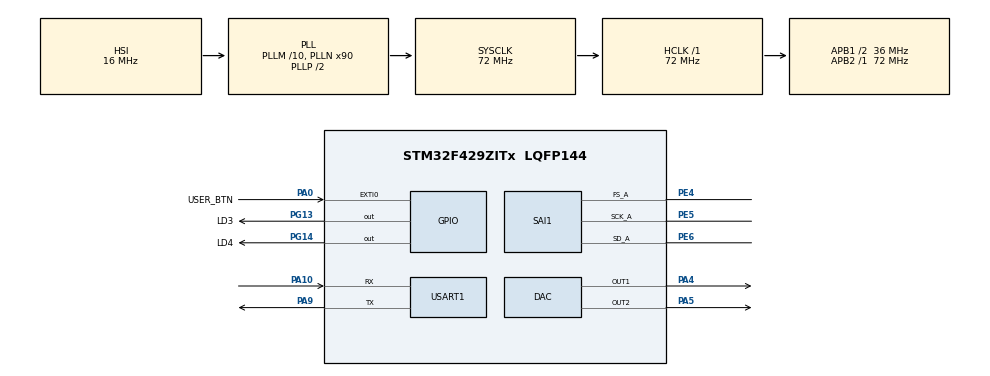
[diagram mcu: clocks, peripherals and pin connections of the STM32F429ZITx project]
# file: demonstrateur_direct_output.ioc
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DAC.DAC_Trigger=DAC_TRIGGER_T2_TRGO
DAC.DAC_Trigger2=DAC_TRIGGER_T2_TRGO
DAC.WaveGeneration=DISABLE
Dma.DAC1.1.Direction=DMA_MEMORY_TO_PERIPH
Dma.DAC1.1.FIFOMode=DMA_FIFOMODE_DISABLE
Dma.DAC1.1.Instance=DMA1_Stream5
Dma.DAC1.1.MemDataAlignment=DMA_MDATAALIGN_HALFWORD
Dma.DAC1.1.MemInc=DMA_MINC_ENABLE
Dma.DAC1.1.Mode=DMA_CIRCULAR
Dma.DAC1.1.PeriphDataAlignment=DMA_PDATAALIGN_HALFWORD
Dma.DAC1.1.PeriphInc=DMA_PINC_DISABLE
Dma.DAC1.1.Priority=DMA_PRIORITY_LOW
Dma.DAC2.2.Direction=DMA_MEMORY_TO_PERIPH
Dma.DAC2.2.FIFOMode=DMA_FIFOMODE_DISABLE
Dma.DAC2.2.Instance=DMA1_Stream6
Dma.DAC2.2.MemDataAlignment=DMA_MDATAALIGN_HALFWORD
Dma.DAC2.2.MemInc=DMA_MINC_ENABLE
Dma.DAC2.2.Mode=DMA_CIRCULAR
Dma.DAC2.2.PeriphDataAlignment=DMA_PDATAALIGN_HALFWORD
Dma.DAC2.2.PeriphInc=DMA_PINC_DISABLE
Dma.DAC2.2.Priority=DMA_PRIORITY_LOW
Dma.Request0=SAI1_A
Dma.Request1=DAC1
Dma.Request2=DAC2
Dma.SAI1_A.0.Direction=DMA_PERIPH_TO_MEMORY
Dma.SAI1_A.0.FIFOMode=DMA_FIFOMODE_DISABLE
Dma.SAI1_A.0.Instance=DMA2_Stream1
Dma.SAI1_A.0.MemDataAlignment=DMA_MDATAALIGN_HALFWORD
Dma.SAI1_A.0.MemInc=DMA_MINC_ENABLE
Dma.SAI1_A.0.Mode=DMA_CIRCULAR
Dma.SAI1_A.0.PeriphDataAlignment=DMA_PDATAALIGN_HALFWORD
Dma.SAI1_A.0.PeriphInc=DMA_PINC_DISABLE
Dma.SAI1_A.0.Priority=DMA_PRIORITY_LOW
Mcu.Family=STM32F4
Mcu.Name=STM32F429ZITx
Mcu.Package=LQFP144
NVIC.DMA1_Stream5_IRQn=true\:0\:0\:false\:false\:true\:false\:true
NVIC.DMA1_Stream6_IRQn=true\:0\:0\:false\:false\:true\:false\:true
NVIC.DMA2_Stream1_IRQn=true\:0\:0\:false\:false\:true\:false\:true
NVIC.PriorityGroup=NVIC_PRIORITYGROUP_4
NVIC.TIM6_DAC_IRQn=true\:15\:0\:false\:false\:true\:false\:true
NVIC.TimeBase=TIM6_DAC_IRQn
NVIC.TimeBaseIP=TIM6
PA0/WKUP.GPIO_Label=USER_BTN
PA0/WKUP.GPIO_ModeDefaultEXTI=GPIO_MODE_EVT_RISING
PA0/WKUP.Signal=GPXTI0
PA10.Mode=Asynchronous
PA10.Signal=USART1_RX
PA13.Mode=Serial_Wire
PA13.Signal=SYS_JTMS-SWDIO
PA14.Mode=Serial_Wire
PA14.Signal=SYS_JTCK-SWCLK
PA4.Signal=COMP_DAC1_group
PA5.Signal=COMP_DAC2_group
PA9.Mode=Asynchronous
PA9.Signal=USART1_TX
PE4.Mode=SAI_A_Master
PE4.Signal=SAI1_FS_A
PE5.Mode=SAI_A_Master
PE5.Signal=SAI1_SCK_A
PE6.Mode=SAI_A_Master
PE6.Signal=SAI1_SD_A
PG13.GPIO_Label=LD3
PG13.Signal=GPIO_Output
PG14.GPIO_Label=LD4
PG14.Signal=GPIO_Output
PH0/OSC_IN.Mode=HSE-External-Oscillator
PH0/OSC_IN.Signal=RCC_OSC_IN
PH1/OSC_OUT.Mode=HSE-External-Oscillator
PH1/OSC_OUT.Signal=RCC_OSC_OUT
ProjectManager.HeapSize=0x200
ProjectManager.StackSize=0x400
ProjectManager.TargetToolchain=STM32CubeIDE
RCC.48MHZClocksFreq_Value=36000000
RCC.AHBFreq_Value=72000000
RCC.APB1CLKDivider=RCC_HCLK_DIV2
RCC.APB1Freq_Value=36000000
RCC.APB1TimFreq_Value=72000000
RCC.APB2Freq_Value=72000000
RCC.APB2TimFreq_Value=72000000
RCC.CortexFreq_Value=72000000
RCC.HCLKFreq_Value=72000000
RCC.HSE_VALUE=25000000
RCC.HSI_VALUE=16000000
RCC.LSE_VALUE=32768
RCC.PLLM=10
RCC.PLLN=90
RCC.PLLSAIN=256
RCC.PLLSAIQ=5
RCC.SYSCLKFreq_VALUE=72000000
RCC.SYSCLKSource=RCC_SYSCLKSOURCE_PLLCLK
RCC.VCOOutputFreq_Value=144000000
SAI1.ActiveFrameLength-SAI_A_Master=32
SAI1.AudioFrequency-SAI_A_Master=SAI_AUDIO_FREQUENCY_32K
SAI1.AudioMode-SAI_A_Master=SAI_MODEMASTER_RX
SAI1.ClockStrobing-SAI_A_Master=SAI_CLOCKSTROBING_RISINGEDGE
SAI1.DataSize-SAI_A_Master=SAI_DATASIZE_16
SAI1.ErrorAudioFreq-SAI_A_Master=0.0 %
SAI1.FSDefinition-SAI_A_Master=SAI_FS_CHANNEL_IDENTIFICATION
SAI1.FrameLength-SAI_A_Master=64
SAI1.Instance-SAI_A_Master=SAI$Index_Block_A
SAI1.MClockEnable-SAI_A_Master=SAI_MASTERCLOCK_DISABLE
SAI1.RealAudioFreq-SAI_A_Master=32.0 KHz
SAI1.SlotActive-SAI_A_Master=0x0000FFFF
SAI1.SlotNumber-SAI_A_Master=4
SAI1.Synchro_A=SAI_ASYNCHRONOUS
SAI1.VirtualMode-SAI_A_Master=VM_MASTER
SAI1.VirtualSlotActive-SAI_A_Master=SAI_SLOTACTIVE_ALL
SH.COMP_DAC1_group.0=DAC_OUT1,DAC_OUT1
SH.COMP_DAC2_group.0=DAC_OUT2,DAC_OUT2
TIM2.Period=2249
TIM2.TIM_MasterOutputTrigger=TIM_TRGO_UPDATE
USART1.VirtualMode=VM_ASYNC
VP_SYS_VS_tim6.Mode=TIM6
VP_TIM2_VS_ClockSourceINT.Mode=Internal
board=custom

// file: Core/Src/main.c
/* USER CODE BEGIN Header */
/**
  ******************************************************************************
  * @file           : main.c
  * @brief          : Main program body
  ******************************************************************************
  * @attention
  *
  * <h2><center>&copy; Copyright (c) 2021 STMicroelectronics.
  * All rights reserved.</center></h2>
  *
  * This software component is licensed by ST under BSD 3-Clause license,
  * the "License"; You may not use this file except in compliance with the
  * License. You may obtain a copy of the License at:
  *                        opensource.org/licenses/BSD-3-Clause
  *
  ******************************************************************************
  */
/* USER CODE END Header */
#include "main.h"

/* USER CODE BEGIN Includes */
#include "pdm_fir.h"
#include <stdlib.h>
#include <string.h>
/* USER CODE END Includes */

/* USER CODE BEGIN PTD */
typedef enum program_state {
    IDLE, RECORDING
} program_state;
/* USER CODE END PTD */

/* USER CODE BEGIN PD */
#pragma clang diagnostic push
#pragma ide diagnostic ignored "EndlessLoop"

#define SOUND_FS 32000
#define DECIMATION_FACTOR 64
#define WORD_SIZE 16

#define PDM_BUFFER_SIZE 128
#define PCM_BUFFER_SIZE PDM_BUFFER_SIZE / (DECIMATION_FACTOR / WORD_SIZE) // HERE PCM_BUFFER_SIZE = 128 / (64 / 16) = 32

#define TRANSMIT
/* USER CODE END PD */

DAC_HandleTypeDef hdac;
DMA_HandleTypeDef hdma_dac1;
DMA_HandleTypeDef hdma_dac2;

SAI_HandleTypeDef hsai_BlockA1;
DMA_HandleTypeDef hdma_sai1_a;

TIM_HandleTypeDef htim2;

UART_HandleTypeDef huart1;

/* USER CODE BEGIN PV */
//declaring Buffers and Buffer Indexes
uint16_t PDM_buffer[PDM_BUFFER_SIZE * 2]; // Double buffer for HALF READ
uint16_t PCM_buffer[PCM_BUFFER_SIZE];;

uint16_t DAC_buffer_left[PCM_BUFFER_SIZE * 2]; // Double buffer for HALF WRITE
uint16_t DAC_buffer_right[PCM_BUFFER_SIZE * 2]; // Double buffer for HALF WRITE

uint8_t sai_flag = 1, sai_half = 0;
uint8_t dac_flag = 1, dac_half = 0;
/* USER CODE END PV */

void SystemClock_Config(void);

static void MX_GPIO_Init(void);

static void MX_DMA_Init(void);

static void MX_DAC_Init(void);

static void MX_SAI1_Init(void);

static void MX_TIM2_Init(void);

static void MX_USART1_UART_Init(void);

/* USER CODE BEGIN 0 */

// Configuring SAI Interruption Callbacks
void HAL_SAI_RxHalfCpltCallback(SAI_HandleTypeDef *hsai) {
    sai_flag = 0;
    sai_half = 0;
}

void HAL_SAI_RxCpltCallback(SAI_HandleTypeDef *hsai) {
    sai_flag = 0;
    sai_half = 1;
}

// Configuring DAC Interruption Callbacks
void HAL_DAC_ConvHalfCpltCallbackCh1(DAC_HandleTypeDef *hdac1) {
    dac_flag = 0;
    dac_half = 0;
}

void HAL_DAC_ConvCpltCallbackCh1(DAC_HandleTypeDef *hdac1) {
    dac_flag = 0;
    dac_half = 1;
}

// function to Filter a chunk of PDM_DATA
size_t filter_pdm_chunk(struct pdm_fir_filter *filter, uint16_t *pcm_buffer, uint16_t *pdm_buffer, size_t pdm_size,
                        uint16_t decimation, uint16_t linear_gain) {
    uint16_t decimation_words = decimation / WORD_SIZE;
    size_t pcm_to_write = pdm_size / decimation_words;
    for (size_t i = 0; i < pcm_to_write; i++) {
        for (size_t j = 0; j < decimation_words; j++) {
            pdm_fir_flt_put(filter, pdm_buffer[i * decimation_words + j]);
        }
        int32_t received_pcm = pdm_fir_flt_get(filter, 12);
        received_pcm -= 50; // centering PCM Signal
        received_pcm *= linear_gain;
        if (received_pcm > 0x7FF) received_pcm = 0x7FF;
        if (received_pcm < -0x7FF) received_pcm = -0x7FF;
        received_pcm += 0x7FF;
        pcm_buffer[i] = (uint16_t) received_pcm & 0xFFF;
    }
    return pcm_to_write;
}

/* USER CODE END 0 */

int main(void) {
    /* USER CODE BEGIN 1 */
    // Declaring Initial STATE
    program_state current_state = IDLE;
    //declaring pdm_filter
    struct pdm_fir_filter pdm_filter;

    //initializing Buffers
    for (size_t i = 0; i < PDM_BUFFER_SIZE * 2; i++) PDM_buffer[i] = 0;
    for (size_t i = 0; i < PCM_BUFFER_SIZE; i++) PCM_buffer[i] = 0;
    for (size_t i = 0; i < PCM_BUFFER_SIZE * 2; i++) {
        DAC_buffer_left[i] = 0x7ff;
        DAC_buffer_right[i] = 0x7FF;
    }
    /* USER CODE END 1 */

    /* MCU Configuration--------------------------------------------------------*/

    /* Reset of all peripherals, Initializes the Flash interface and the Systick. */
    HAL_Init();

    /* Configure the system clock */
    SystemClock_Config();

    /* Initialize all configured peripherals */
    MX_GPIO_Init();
    MX_DMA_Init();
    MX_DAC_Init();
    MX_SAI1_Init();
    MX_TIM2_Init();
    MX_USART1_UART_Init();
    /* USER CODE BEGIN 2 */

    pdm_fir_flt_init(&pdm_filter);
    HAL_SAI_Receive_DMA(&hsai_BlockA1, (uint8_t *) PDM_buffer, PDM_BUFFER_SIZE * 2);
    HAL_DAC_Start_DMA(&hdac, DAC_CHANNEL_1, (uint32_t *) DAC_buffer_left, PCM_BUFFER_SIZE * 2, DAC_ALIGN_12B_R);
    HAL_DAC_Start_DMA(&hdac, DAC_CHANNEL_2, (uint32_t *) DAC_buffer_right, PCM_BUFFER_SIZE * 2, DAC_ALIGN_12B_R);
    HAL_TIM_Base_Start(&htim2);
    /* USER CODE END 2 */

    /* Infinite loop */
    /* USER CODE BEGIN WHILE */
    uint32_t idle_counter = 0;
    uint32_t cool_down = 0;
    while (1) {
        /* USER CODE END WHILE */

        /* USER CODE BEGIN 3 */
        switch (current_state) {
            case RECORDING:
                if (!sai_flag) {
                    (void) filter_pdm_chunk(&pdm_filter, PCM_buffer, PDM_buffer + PDM_BUFFER_SIZE * sai_half,
                                            PDM_BUFFER_SIZE, DECIMATION_FACTOR, 9);
                    sai_flag = 1;
                    if (cool_down > 0) cool_down--;

                }
                if (!dac_flag) {
                    memcpy(DAC_buffer_left + dac_half * PCM_BUFFER_SIZE, PCM_buffer,
                           PCM_BUFFER_SIZE * sizeof(uint16_t));
                    memcpy(DAC_buffer_right + dac_half * PCM_BUFFER_SIZE, PCM_buffer,
                           PCM_BUFFER_SIZE * sizeof(uint16_t));
                    dac_flag = 1;
                }
                if (HAL_GPIO_ReadPin(GPIOA, USER_BTN_Pin) == GPIO_PIN_SET && cool_down == 0) {
                    current_state = IDLE;
                    cool_down = 250;
                    HAL_GPIO_WritePin(GPIOG, LD3_Pin, GPIO_PIN_RESET);
                }

                break;
            case IDLE:
                if (HAL_GPIO_ReadPin(GPIOA, USER_BTN_Pin) == GPIO_PIN_SET && cool_down == 0) {
                    current_state = RECORDING;
                    cool_down = 500;
                    HAL_GPIO_WritePin(GPIOG, LD3_Pin, GPIO_PIN_SET);
                }
                if (!sai_flag) { // filtering BUT ignoring output -> Keeping filter up to date
                    (void) filter_pdm_chunk(&pdm_filter, PCM_buffer, PDM_buffer + PDM_BUFFER_SIZE * sai_half,
                                            PDM_BUFFER_SIZE, DECIMATION_FACTOR, 1);
                    sai_flag = 1;
                }
                if (!dac_flag) dac_flag = 1; // resetting DAC flag
                if (cool_down > 0) {
                    cool_down--;
                    HAL_Delay(1);
                }
                idle_counter = (idle_counter + 1) % 1000000;
                break;
            default:
                idle_counter = (idle_counter + 1) % 1000000;
                HAL_GPIO_WritePin(GPIOG, LD3_Pin, GPIO_PIN_SET);
                HAL_GPIO_WritePin(GPIOG, LD3_Pin, GPIO_PIN_SET);
                break;
        }
    }
    /* USER CODE END 3 */
}

void SystemClock_Config(void) {
    RCC_OscInitTypeDef RCC_OscInitStruct = {0};
    RCC_ClkInitTypeDef RCC_ClkInitStruct = {0};

    /** Macro to configure SAI1BlockA clock source selection
    */
    __HAL_RCC_SAI_BLOCKACLKSOURCE_CONFIG(SAI_CLKSOURCE_PLLSAI);
    /** Configure the main internal regulator output voltage
    */
    __HAL_RCC_PWR_CLK_ENABLE();
    __HAL_PWR_VOLTAGESCALING_CONFIG(PWR_REGULATOR_VOLTAGE_SCALE3);
    /** Initializes the RCC Oscillators according to the specified parameters
    * in the RCC_OscInitTypeDef structure.
    */
    RCC_OscInitStruct.OscillatorType = RCC_OSCILLATORTYPE_HSI;
    RCC_OscInitStruct.HSIState = RCC_HSI_ON;
    RCC_OscInitStruct.HSICalibrationValue = RCC_HSICALIBRATION_DEFAULT;
    RCC_OscInitStruct.PLL.PLLState = RCC_PLL_ON;
    RCC_OscInitStruct.PLL.PLLSource = RCC_PLLSOURCE_HSI;
    RCC_OscInitStruct.PLL.PLLM = 10;
    RCC_OscInitStruct.PLL.PLLN = 90;
    RCC_OscInitStruct.PLL.PLLP = RCC_PLLP_DIV2;
    RCC_OscInitStruct.PLL.PLLQ = 4;
    if (HAL_RCC_OscConfig(&RCC_OscInitStruct) != HAL_OK) {
        Error_Handler();
    }
    /** Initializes the CPU, AHB and APB buses clocks
    */
    RCC_ClkInitStruct.ClockType = RCC_CLOCKTYPE_HCLK | RCC_CLOCKTYPE_SYSCLK
                                  | RCC_CLOCKTYPE_PCLK1 | RCC_CLOCKTYPE_PCLK2;
    RCC_ClkInitStruct.SYSCLKSource = RCC_SYSCLKSOURCE_PLLCLK;
    RCC_ClkInitStruct.AHBCLKDivider = RCC_SYSCLK_DIV1;
    RCC_ClkInitStruct.APB1CLKDivider = RCC_HCLK_DIV2;
    RCC_ClkInitStruct.APB2CLKDivider = RCC_HCLK_DIV1;

    if (HAL_RCC_ClockConfig(&RCC_ClkInitStruct, FLASH_LATENCY_2) != HAL_OK) {
        Error_Handler();
    }
}

static void MX_DAC_Init(void) {

    DAC_ChannelConfTypeDef sConfig = {0};

    /** DAC Initialization
    */
    hdac.Instance = DAC;
    if (HAL_DAC_Init(&hdac) != HAL_OK) {
        Error_Handler();
    }
    /** DAC channel OUT1 config
    */
    sConfig.DAC_Trigger = DAC_TRIGGER_T2_TRGO;
    sConfig.DAC_OutputBuffer = DAC_OUTPUTBUFFER_ENABLE;
    if (HAL_DAC_ConfigChannel(&hdac, &sConfig, DAC_CHANNEL_1) != HAL_OK) {
        Error_Handler();
    }
    /** DAC channel OUT2 config
    */
    if (HAL_DAC_ConfigChannel(&hdac, &sConfig, DAC_CHANNEL_2) != HAL_OK) {
        Error_Handler();
    }

}

static void MX_SAI1_Init(void) {

    hsai_BlockA1.Instance = SAI1_Block_A;
    hsai_BlockA1.Init.Protocol = SAI_FREE_PROTOCOL;
    hsai_BlockA1.Init.AudioMode = SAI_MODEMASTER_RX;
    hsai_BlockA1.Init.DataSize = SAI_DATASIZE_16;
    hsai_BlockA1.Init.FirstBit = SAI_FIRSTBIT_MSB;
    hsai_BlockA1.Init.ClockStrobing = SAI_CLOCKSTROBING_RISINGEDGE;
    hsai_BlockA1.Init.Synchro = SAI_ASYNCHRONOUS;
    hsai_BlockA1.Init.OutputDrive = SAI_OUTPUTDRIVE_DISABLE;
    hsai_BlockA1.Init.NoDivider = SAI_MASTERDIVIDER_ENABLE;
    hsai_BlockA1.Init.FIFOThreshold = SAI_FIFOTHRESHOLD_EMPTY;
    hsai_BlockA1.Init.ClockSource = SAI_CLKSOURCE_PLLSAI;
    hsai_BlockA1.Init.AudioFrequency = SAI_AUDIO_FREQUENCY_32K;
    hsai_BlockA1.FrameInit.FrameLength = 64;
    hsai_BlockA1.FrameInit.ActiveFrameLength = 32;
    hsai_BlockA1.FrameInit.FSDefinition = SAI_FS_CHANNEL_IDENTIFICATION;
    hsai_BlockA1.FrameInit.FSPolarity = SAI_FS_ACTIVE_LOW;
    hsai_BlockA1.FrameInit.FSOffset = SAI_FS_FIRSTBIT;
    hsai_BlockA1.SlotInit.FirstBitOffset = 0;
    hsai_BlockA1.SlotInit.SlotSize = SAI_SLOTSIZE_DATASIZE;
    hsai_BlockA1.SlotInit.SlotNumber = 4;
    hsai_BlockA1.SlotInit.SlotActive = 0x0000FFFF;
    if (HAL_SAI_Init(&hsai_BlockA1) != HAL_OK) {
        Error_Handler();
    }

}

static void MX_TIM2_Init(void) {

    TIM_ClockConfigTypeDef sClockSourceConfig = {0};
    TIM_MasterConfigTypeDef sMasterConfig = {0};

    htim2.Instance = TIM2;
    htim2.Init.Prescaler = 0;
    htim2.Init.CounterMode = TIM_COUNTERMODE_UP;
    htim2.Init.Period = 2249;
    htim2.Init.ClockDivision = TIM_CLOCKDIVISION_DIV1;
    htim2.Init.AutoReloadPreload = TIM_AUTORELOAD_PRELOAD_DISABLE;
    if (HAL_TIM_Base_Init(&htim2) != HAL_OK) {
        Error_Handler();
    }
    sClockSourceConfig.ClockSource = TIM_CLOCKSOURCE_INTERNAL;
    if (HAL_TIM_ConfigClockSource(&htim2, &sClockSourceConfig) != HAL_OK) {
        Error_Handler();
    }
    sMasterConfig.MasterOutputTrigger = TIM_TRGO_UPDATE;
    sMasterConfig.MasterSlaveMode = TIM_MASTERSLAVEMODE_DISABLE;
    if (HAL_TIMEx_MasterConfigSynchronization(&htim2, &sMasterConfig) != HAL_OK) {
        Error_Handler();
    }

}

static void MX_USART1_UART_Init(void) {

    huart1.Instance = USART1;
    huart1.Init.BaudRate = 115200;
    huart1.Init.WordLength = UART_WORDLENGTH_8B;
    huart1.Init.StopBits = UART_STOPBITS_1;
    huart1.Init.Parity = UART_PARITY_NONE;
    huart1.Init.Mode = UART_MODE_TX_RX;
    huart1.Init.HwFlowCtl = UART_HWCONTROL_NONE;
    huart1.Init.OverSampling = UART_OVERSAMPLING_16;
    if (HAL_UART_Init(&huart1) != HAL_OK) {
        Error_Handler();
    }

}

static void MX_DMA_Init(void) {

    /* DMA controller clock enable */
    __HAL_RCC_DMA2_CLK_ENABLE();
    __HAL_RCC_DMA1_CLK_ENABLE();

    /* DMA interrupt init */
    /* DMA1_Stream5_IRQn interrupt configuration */
    HAL_NVIC_SetPriority(DMA1_Stream5_IRQn, 0, 0);
    HAL_NVIC_EnableIRQ(DMA1_Stream5_IRQn);
    /* DMA1_Stream6_IRQn interrupt configuration */
    HAL_NVIC_SetPriority(DMA1_Stream6_IRQn, 0, 0);
    HAL_NVIC_EnableIRQ(DMA1_Stream6_IRQn);
    /* DMA2_Stream1_IRQn interrupt configuration */
    HAL_NVIC_SetPriority(DMA2_Stream1_IRQn, 0, 0);
    HAL_NVIC_EnableIRQ(DMA2_Stream1_IRQn);

}

static void MX_GPIO_Init(void) {
    GPIO_InitTypeDef GPIO_InitStruct = {0};

    /* GPIO Ports Clock Enable */
    __HAL_RCC_GPIOE_CLK_ENABLE();
    __HAL_RCC_GPIOH_CLK_ENABLE();
    __HAL_RCC_GPIOA_CLK_ENABLE();
    __HAL_RCC_GPIOG_CLK_ENABLE();

    /*Configure GPIO pin Output Level */
    HAL_GPIO_WritePin(GPIOG, LD3_Pin | LD4_Pin, GPIO_PIN_RESET);

    /*Configure GPIO pin : USER_BTN_Pin */
    GPIO_InitStruct.Pin = USER_BTN_Pin;
    GPIO_InitStruct.Mode = GPIO_MODE_EVT_RISING;
    GPIO_InitStruct.Pull = GPIO_NOPULL;
    HAL_GPIO_Init(USER_BTN_GPIO_Port, &GPIO_InitStruct);

    /*Configure GPIO pins : LD3_Pin LD4_Pin */
    GPIO_InitStruct.Pin = LD3_Pin | LD4_Pin;
    GPIO_InitStruct.Mode = GPIO_MODE_OUTPUT_PP;
    GPIO_InitStruct.Pull = GPIO_NOPULL;
    GPIO_InitStruct.Speed = GPIO_SPEED_FREQ_LOW;
    HAL_GPIO_Init(GPIOG, &GPIO_InitStruct);

}

void HAL_TIM_PeriodElapsedCallback(TIM_HandleTypeDef *htim) {
    if (htim->Instance == TIM6) {
        HAL_IncTick();
    }
}

void Error_Handler(void) {
    __disable_irq();
    while (1) {
    }
}

/************************ (C) COPYRIGHT STMicroelectronics *****END OF FILE****/
